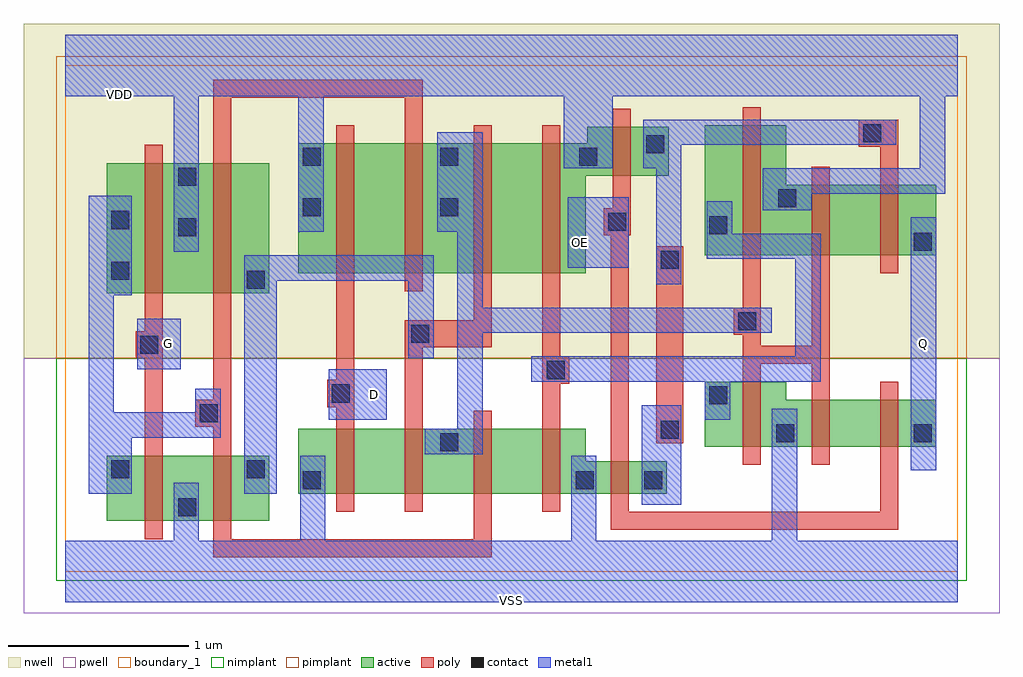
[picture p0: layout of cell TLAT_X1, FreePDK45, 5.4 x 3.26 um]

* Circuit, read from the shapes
.subckt TLAT_X1 D G OE Q VDD VSS
M1 VSS G n1 VSUBS nfet w=0.36u l=0.1u
M2 n2 n1 VSS VSUBS nfet w=0.36u l=0.1u
M3 n3 D VSS VSUBS nfet w=0.36u l=0.1u
M4 n4 n2 n3 VSUBS nfet w=0.36u l=0.1u
M5 n5 n1 n4 VSUBS nfet w=0.36u l=0.1u
M6 VSS n6 n5 VSUBS nfet w=0.36u l=0.1u
M7 n7 OE VSS VSUBS nfet w=0.18u l=0.1u
M8 VSS n4 n6 VSUBS nfet w=0.36u l=0.1u
M9 n8 n4 VSS VSUBS nfet w=0.26u l=0.1u
M10 Q OE n8 VSUBS nfet w=0.26u l=0.1u
M11 VDD G n1 n9 pfet w=0.72u l=0.1u
M12 n2 n1 VDD n9 pfet w=0.72u l=0.1u
M13 n10 D VDD n9 pfet w=0.72u l=0.1u
M14 n4 n1 n10 n9 pfet w=0.72u l=0.1u
M15 n11 n2 n4 n9 pfet w=0.72u l=0.1u
M16 VDD n6 n11 n9 pfet w=0.72u l=0.1u
M17 n7 OE VDD n9 pfet w=0.27u l=0.1u
M18 VDD n4 n6 n9 pfet w=0.72u l=0.1u
M19 n12 n4 VDD n9 pfet w=0.39u l=0.1u
M20 Q n7 n12 n9 pfet w=0.39u l=0.1u
.ends

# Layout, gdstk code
import gdstk
lib = gdstk.Library(unit=1e-6, precision=1e-09)
def R(c, l, rs):  # rectangles x0, y0, x1, y1
    for r in rs: c.add(gdstk.rectangle(r[:2], r[2:], *l))
def P(c, l, *ps):  # polygons
    for p in ps: c.add(gdstk.Polygon(p, *l))
active = (1, 0)
pwell = (2, 0)
nwell = (3, 0)
nimplant = (4, 0)
pimplant = (5, 0)
poly = (9, 0)
contact = (10, 0)
metal1 = (11, 0)
boundary_1 = (235, 1)

tlat_x1 = lib.new_cell('TLAT_X1')
R(tlat_x1, active, [(0.23,0.28,1.13,0.64), (0.23,1.54,1.13,2.26)])
P(tlat_x1, active, [(3.54,1.75),(4.82,1.75),(4.82,2.14),(3.99,2.14),(3.99,2.47),(3.54,2.47)],
  [(3.54,0.69),(4.82,0.69),(4.82,0.95),(3.99,0.95),(3.99,1.05),(3.54,1.05)],
  [(1.29,1.65),(2.88,1.65),(2.88,2.19),(3.34,2.19),(3.34,2.46),(2.89,2.46),(2.89,2.37),(1.29,2.37)],
  [(1.29,0.43),(3.33,0.43),(3.33,0.61),(2.88,0.61),(2.88,0.79),(1.29,0.79)])
R(tlat_x1, pwell, [(-0.23,-0.23,5.17,1.18)])
R(tlat_x1, nwell, [(-0.23,1.18,5.17,3.03)])
R(tlat_x1, nimplant, [(-0.05,-0.05,4.99,1.18)])
R(tlat_x1, pimplant, [(-0.05,1.18,4.99,2.85)])
R(tlat_x1, poly, [(3.27,0.71,3.42,1.8)])
P(tlat_x1, poly, [(4.39,2.35),(4.51,2.35),(4.51,1.65),(4.61,1.65),(4.61,2.5),(4.39,2.5)],
  [(2.98,1.86),(3.02,1.86),(3.02,0.23),(4.61,0.23),(4.61,1.05),(4.51,1.05),(4.51,0.33),(3.12,0.33),(3.12,1.86),(3.13,1.86),(3.13,2.56),(3.03,2.56),(3.03,2.01),(2.98,2.01)],
  [(3.7,1.31),(3.75,1.31),(3.75,0.59),(3.85,0.59),(3.85,1.15),(4.13,1.15),(4.13,0.59),(4.23,0.59),(4.23,2.24),(4.13,2.24),(4.13,1.25),(3.85,1.25),(3.85,2.57),(3.75,2.57),(3.75,1.46),(3.7,1.46)],
  [(2.64,0.33),(2.74,0.33),(2.74,1.04),(2.79,1.04),(2.79,1.19),(2.74,1.19),(2.74,2.47),(2.64,2.47)],
  [(1.88,0.33),(1.98,0.33),(1.98,1.24),(2.36,1.24),(2.36,2.47),(2.26,2.47),(2.26,1.39),(1.88,1.39)],
  [(0.72,0.8),(0.82,0.8),(0.82,0.08),(2.36,0.08),(2.36,0.89),(2.26,0.89),(2.26,0.18),(0.92,0.18),(0.92,2.62),(1.88,2.62),(1.88,1.55),(1.98,1.55),(1.98,2.72),(0.82,2.72),(0.82,0.95),(0.72,0.95)],
  [(1.45,0.91),(1.5,0.91),(1.5,0.33),(1.6,0.33),(1.6,2.47),(1.5,2.47),(1.5,1.06),(1.45,1.06)],
  [(0.39,1.18),(0.44,1.18),(0.44,0.18),(0.54,0.18),(0.54,2.36),(0.44,2.36),(0.44,1.33),(0.39,1.33)])
R(tlat_x1, contact, [(0.625,0.305,0.725,0.405), (1.315,0.455,1.415,0.555), (2.825,0.455,2.925,0.555), (3.205,0.455,3.305,0.555), (0.255,0.515,0.355,0.615), (1.005,0.515,1.105,0.615), (2.075,0.665,2.175,0.765), (3.935,0.715,4.035,0.815), (4.695,0.715,4.795,0.815), (3.295,0.735,3.395,0.835), (0.745,0.825,0.845,0.925), (3.565,0.925,3.665,1.025), (1.475,0.935,1.575,1.035), (2.665,1.065,2.765,1.165), (0.415,1.205,0.515,1.305), (1.915,1.265,2.015,1.365), (3.725,1.335,3.825,1.435), (1.005,1.565,1.105,1.665), (0.255,1.615,0.355,1.715), (3.295,1.675,3.395,1.775), (4.695,1.775,4.795,1.875), (0.625,1.855,0.725,1.955), (3.565,1.865,3.665,1.965), (3.005,1.885,3.105,1.985), (0.255,1.895,0.355,1.995), (1.315,1.965,1.415,2.065), (2.075,1.965,2.175,2.065), (3.945,2.015,4.045,2.115), (0.625,2.135,0.725,2.235), (1.315,2.245,1.415,2.345), (2.075,2.245,2.175,2.345), (2.845,2.245,2.945,2.345), (3.215,2.315,3.315,2.415), (4.415,2.375,4.515,2.475)])
R(tlat_x1, metal1, [(3.19,0.37,3.41,0.92), (4.68,0.56,4.82,1.96), (4.68,0.56,4.82,1.96), (1.46,0.84,1.78,1.12), (1.46,0.84,1.78,1.12), (0.4,1.12,0.64,1.4), (0.4,1.12,0.64,1.4), (2.78,1.68,3.12,2.07), (2.78,1.68,3.12,2.07)])
P(tlat_x1, metal1, [(0,-0.17),(4.94,-0.17),(4.94,0.17),(4.05,0.17),(4.05,0.9),(3.91,0.9),(3.91,0.17),(2.94,0.17),(2.94,0.64),(2.8,0.64),(2.8,0.17),(1.44,0.17),(1.44,0.64),(1.3,0.64),(1.3,0.17),(0.74,0.17),(0.74,0.49),(0.6,0.49),(0.6,0.17),(0,0.17)],
  [(0,2.63),(0.6,2.63),(0.6,1.77),(0.74,1.77),(0.74,2.63),(1.29,2.63),(1.29,1.88),(1.43,1.88),(1.43,2.63),(2.76,2.63),(2.76,2.23),(3.03,2.23),(3.03,2.63),(4.73,2.63),(4.73,2.23),(3.86,2.23),(3.86,2),(4.13,2),(4.13,2.09),(4.87,2.09),(4.87,2.63),(4.94,2.63),(4.94,2.97),(0,2.97)],
  [(0,2.63),(0.6,2.63),(0.6,1.77),(0.74,1.77),(0.74,2.63),(1.29,2.63),(1.29,1.88),(1.43,1.88),(1.43,2.63),(2.76,2.63),(2.76,2.23),(3.03,2.23),(3.03,2.63),(4.73,2.63),(4.73,2.23),(3.86,2.23),(3.86,2),(4.13,2),(4.13,2.09),(4.87,2.09),(4.87,2.63),(4.94,2.63),(4.94,2.97),(0,2.97)],
  [(0,-0.17),(4.94,-0.17),(4.94,0.17),(4.05,0.17),(4.05,0.9),(3.91,0.9),(3.91,0.17),(2.94,0.17),(2.94,0.64),(2.8,0.64),(2.8,0.17),(1.44,0.17),(1.44,0.64),(1.3,0.64),(1.3,0.17),(0.74,0.17),(0.74,0.49),(0.6,0.49),(0.6,0.17),(0,0.17)],
  [(3.2,2.23),(3.27,2.23),(3.27,1.59),(3.41,1.59),(3.41,2.36),(4.6,2.36),(4.6,2.5),(3.2,2.5)],
  [(3.55,1.73),(4.04,1.73),(4.04,1.19),(2.58,1.19),(2.58,1.05),(3.54,1.05),(3.54,0.84),(3.68,0.84),(3.68,1.05),(4.18,1.05),(4.18,1.87),(3.69,1.87),(3.69,2.05),(3.55,2.05)],
  [(2.06,1.88),(2.17,1.88),(2.17,0.79),(1.99,0.79),(1.99,0.65),(2.31,0.65),(2.31,1.32),(3.91,1.32),(3.91,1.46),(2.31,1.46),(2.31,2.43),(2.06,2.43)],
  [(0.99,0.43),(1.17,0.43),(1.17,1.61),(1.9,1.61),(1.9,1.18),(2.04,1.18),(2.04,1.75),(0.99,1.75)],
  [(0.13,0.43),(0.37,0.43),(0.37,0.74),(0.86,0.74),(0.86,1.01),(0.72,1.01),(0.72,0.88),(0.27,0.88),(0.27,1.53),(0.37,1.53),(0.37,2.08),(0.13,2.08)])
R(tlat_x1, boundary_1, [(0,0,4.94,2.8)])
tlat_x1.add(gdstk.Label('VSS', (2.47,-0.16), layer=11, texttype=0))
tlat_x1.add(gdstk.Label('VDD', (0.3,2.64), layer=11, texttype=0))
tlat_x1.add(gdstk.Label('Q', (4.75,1.26), layer=11, texttype=0))
tlat_x1.add(gdstk.Label('OE', (2.85,1.82), layer=11, texttype=0))
tlat_x1.add(gdstk.Label('G', (0.57,1.26), layer=11, texttype=0))
tlat_x1.add(gdstk.Label('D', (1.71,0.98), layer=11, texttype=0))

lib.write_gds('TLAT_X1.gds')
